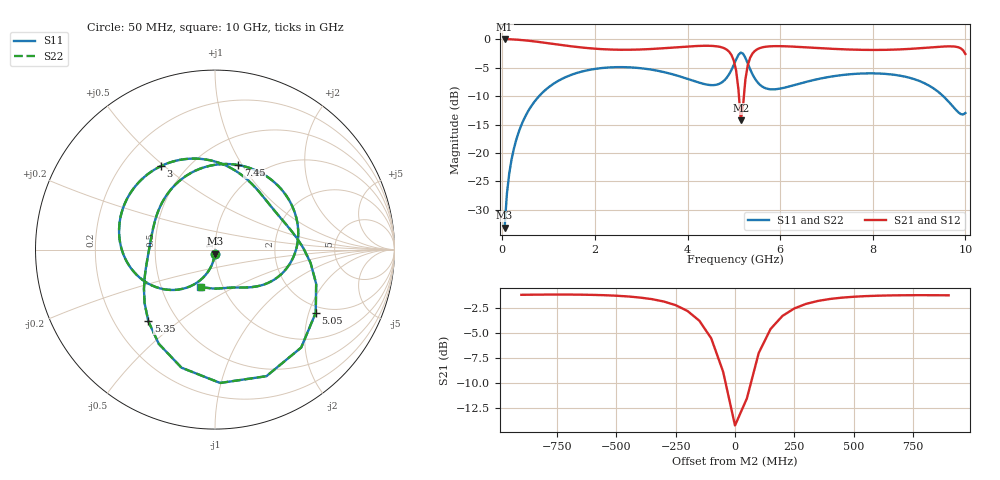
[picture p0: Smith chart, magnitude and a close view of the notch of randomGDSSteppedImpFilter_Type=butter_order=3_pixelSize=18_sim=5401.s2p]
! freq	dB(S11)	phase(S11)	dB(S12)	phase(S12)
!  dB(S21)	phase(S21)	dB(S22)	phase(S22)
!S-par simulation data
#  GHz  S  DB  R 50
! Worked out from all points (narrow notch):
!   200 points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, 50 MHz to 10 GHz, reference 50 ohm
!   highest |S21| = 0.00 dB at 50 MHz (marker M1); lowest = -14.3 dB at 5.15 GHz (marker M2)
!   notch at M2: 12.7 dB deep, 155 MHz wide at half that depth
!   lowest |S11| = -33.1 dB at 50 MHz (marker M3), VSWR 1.05, Z = 49.8 - j2.2 ohm
!   |S11| at or under -10 dB: start of sweep to 796.8 MHz; 9.517 GHz to end of sweep
!   |S22| runs from -33.1 to -2.4 dB; largest |S21 - S12| = 0
!   S11 on the Smith chart (normalised r, x): 50 MHz: 1.00, -0.04; 3 GHz: 0.36, +0.49; 5.05 GHz: 1.77, -2.22; 5.35 GHz: 0.34, -0.39; 7.45 GHz: 0.78, +0.96; 10 GHz: 0.78, -0.34
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0.05  -33.11 -92.9  -0.00 -2.9  -0.00 -2.9  -33.11 -92.9
0.2  -21.14 -101.8  -0.05 -11.5  -0.05 -11.5  -21.14 -101.8
0.5  -13.53 -118.8  -0.24 -28.2  -0.24 -28.2  -13.53 -118.8
1.1  -7.88 -150.3  -0.85 -59.7  -0.85 -59.7  -7.88 -150.3
1.75  -5.64 178.9  -1.51 -90.6  -1.51 -90.6  -5.64 178.9
3  -5.13 122.9  -1.83 -146.8  -1.83 -146.8  -5.13 122.9
3.4  -5.64 103.9  -1.65 -165.9  -1.65 -165.9  -5.64 104.0
4.35  -7.87 51.8  -1.18 141.5  -1.18 141.5  -7.87 51.9
4.8  -7.22 14.5  -1.64 106.6  -1.64 106.6  -7.22 14.6
4.95  -5.39 -7.9  -2.82 88.4  -2.82 88.4  -5.39 -7.9
5.05  -3.58 -32.1  -5.57 72.6  -5.57 72.6  -3.58 -32.1
5.15  -2.37 -67.9  -14.30 90.6  -14.30 90.6  -2.37 -67.9
5.25  -3.30 -105.8  -7.03 142.9  -7.03 142.9  -3.30 -105.8
5.35  -5.26 -132.9  -3.32 127.8  -3.32 127.8  -5.26 -132.9
5.55  -7.93 -164.1  -1.62 103.4  -1.62 103.4  -7.93 -164.1
5.8  -8.83 172.4  -1.27 82.7  -1.27 82.7  -8.83 172.3
6.7  -7.24 115.3  -1.52 27.0  -1.52 27.0  -7.24 115.3
7.45  -6.22 74.5  -1.82 -14.2  -1.82 -14.2  -6.22 74.5
8.35  -6.17 26.8  -1.88 -63.3  -1.88 -63.3  -6.17 26.8
9.3  -8.59 -26.4  -1.43 -120.2  -1.43 -120.2  -8.59 -26.3
9.8  -12.47 -62.6  -1.35 -158.0  -1.35 -158.0  -12.46 -62.4
10  -12.99 -111.3  -2.62 -178.5  -2.62 -178.5  -12.97 -110.9
